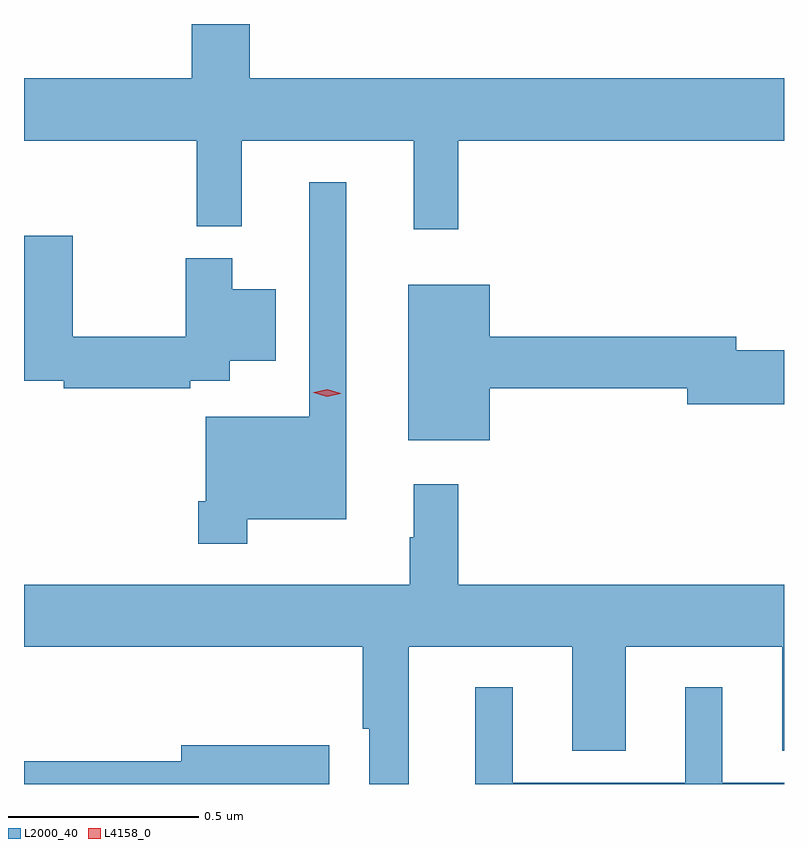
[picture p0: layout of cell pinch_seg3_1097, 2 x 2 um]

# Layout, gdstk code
import gdstk
lib = gdstk.Library(unit=1e-6, precision=1e-09)
def P(c, l, *ps):  # polygons
    for p in ps: c.add(gdstk.Polygon(p, *l))
L2000_40 = (2000, 40)
L4158_0 = (4158, 0)

pinch_seg3_1097 = lib.new_cell('pinch_seg3_1097')
P(pinch_seg3_1097, L2000_40, [(327.467,680.936),(328.324,680.936),(328.324,681.1),(326.918,681.1),(326.918,681.243),(326.765,681.243),(326.765,681.1),(326.324,681.1),(326.324,680.936),(326.779,680.936),(326.779,680.711),(326.897,680.711),(326.897,680.936),(327.35,680.936),(327.35,680.703),(327.467,680.703)],
  [(326.911,679.94),(327.172,679.94),(327.172,680.827),(327.075,680.827),(327.075,680.209),(326.802,680.209),(326.802,679.987),(326.782,679.987),(326.782,679.875),(326.911,679.875)],
  [(326.762,680.304),(326.866,680.304),(326.866,680.357),(326.986,680.357),(326.986,680.545),(326.872,680.545),(326.872,680.626),(326.75,680.626),(326.75,680.42),(326.452,680.42),(326.452,680.686),(326.324,680.686),(326.324,680.304),(326.428,680.304),(326.428,680.284),(326.762,680.284)],
  [(327.55,680.284),(328.07,680.284),(328.07,680.242),(328.324,680.242),(328.324,680.384),(328.198,680.384),(328.198,680.42),(327.55,680.42),(327.55,680.557),(327.335,680.557),(327.335,680.147),(327.55,680.147)],
  [(326.324,679.604),(327.216,679.604),(327.216,679.388),(327.233,679.388),(327.233,679.243),(327.337,679.243),(327.337,679.604),(327.767,679.604),(327.767,679.331),(327.907,679.331),(327.907,679.604),(328.319,679.604),(328.319,679.331),(328.324,679.331),(328.324,679.768),(327.467,679.768),(327.467,680.032),(327.35,680.032),(327.35,679.892),(327.339,679.892),(327.339,679.768),(326.324,679.768)],
  [(328.324,679.246),(328.162,679.246),(328.162,679.498),(328.064,679.498),(328.064,679.246),(327.61,679.246),(327.61,679.498),(327.512,679.498),(327.512,679.243),(328.324,679.243)],
  [(327.127,679.345),(326.738,679.345),(326.738,679.303),(326.324,679.303),(326.324,679.243),(327.127,679.243)])
P(pinch_seg3_1097, L4158_0, [(327.121,680.262),(327.086,680.273),(327.085,680.273),(327.086,680.274),(327.122,680.282),(327.157,680.271),(327.157,680.27),(327.157,680.27)])

lib.write_gds('pinch_seg3_1097.gds')
